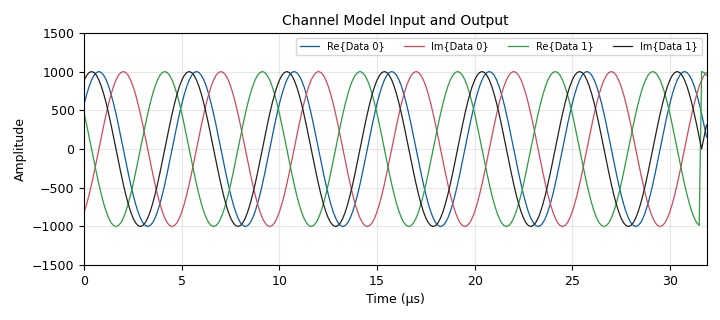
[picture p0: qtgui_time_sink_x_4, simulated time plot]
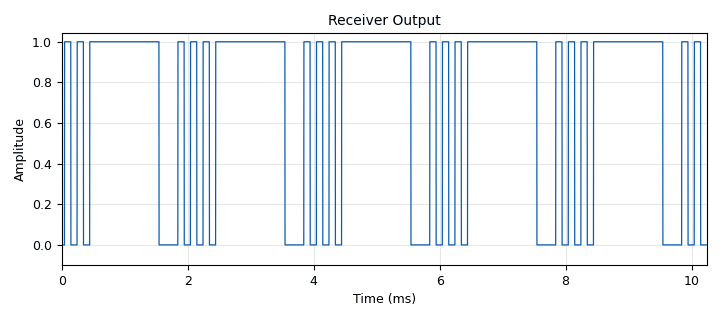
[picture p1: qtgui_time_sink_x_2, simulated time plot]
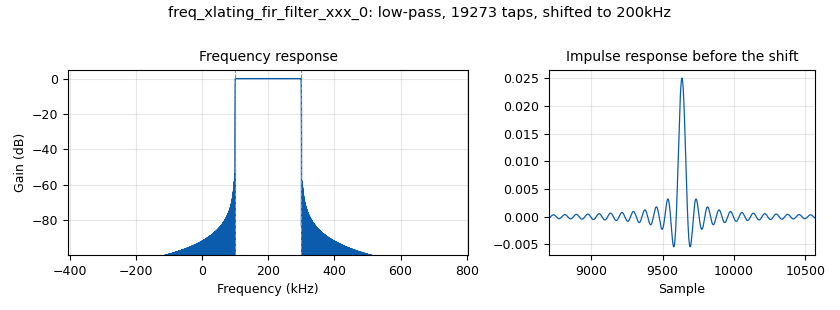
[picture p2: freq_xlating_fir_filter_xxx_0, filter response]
<?xml version='1.0' encoding='utf-8'?>
<?grc format='1' created='3.7.7'?>
<flow_graph>
<block>
<key>options</key>
<param><key>id</key><value>top_block</value></param>
<param><key>generate_options</key><value>qt_gui</value></param>
<param><key>category</key><value>Custom</value></param>
</block>
<block>
<key>variable</key>
<param><key>id</key><value>filter_transition</value></param>
<param><key>value</key><value>1e3</value></param>
</block>
<block>
<key>variable</key>
<param><key>id</key><value>filter_cutoff</value></param>
<param><key>value</key><value>100e3</value></param>
</block>
<block>
<key>variable</key>
<param><key>id</key><value>gain</value></param>
<param><key>value</key><value>1e3</value></param>
</block>
<block>
<key>variable</key>
<param><key>id</key><value>center_freq</value></param>
<param><key>value</key><value>313e6</value></param>
</block>
<block>
<key>variable</key>
<param><key>id</key><value>working_samp_rate</value></param>
<param><key>value</key><value>400e3</value></param>
</block>
<block>
<key>variable</key>
<param><key>id</key><value>samp_rate</value></param>
<param><key>value</key><value>8e6</value></param>
</block>
<block>
<key>import</key>
<param><key>id</key><value>import_0</value></param>
<param><key>import</key><value>import math</value></param>
</block>
<block>
<key>variable_qtgui_entry</key>
<param><key>id</key><value>freq</value></param>
<param><key>type</key><value>real</value></param>
<param><key>value</key><value>313.2e6</value></param>
</block>
<block>
<key>variable_qtgui_entry</key>
<param><key>id</key><value>noise</value></param>
<param><key>type</key><value>real</value></param>
<param><key>value</key><value>0</value></param>
</block>
<block>
<key>variable_qtgui_entry</key>
<param><key>id</key><value>freq_offset</value></param>
<param><key>type</key><value>real</value></param>
<param><key>value</key><value>0</value></param>
</block>
<block>
<key>variable_qtgui_entry</key>
<param><key>id</key><value>freq_match</value></param>
<param><key>type</key><value>real</value></param>
<param><key>value</key><value>1</value></param>
</block>
<block>
<key>variable_qtgui_entry</key>
<param><key>id</key><value>threshold</value></param>
<param><key>type</key><value>real</value></param>
<param><key>value</key><value>0</value></param>
</block>
<block>
<key>variable_qtgui_entry</key>
<param><key>id</key><value>sensitivity</value></param>
<param><key>type</key><value>real</value></param>
<param><key>value</key><value>math.pi/2</value></param>
</block>
<block>
<key>blocks_vector_source_x</key>
<param><key>id</key><value>blocks_vector_source_x_0</value></param>
<param><key>type</key><value>float</value></param>
<param><key>vector</key><value>(-1, 1, 1, 1, -1, 1, -1, 1, -1, 1, -1, -1, -1, -1, -1, -1, -1, -1, -1, -1)</value></param>
<param><key>repeat</key><value>True</value></param>
</block>
<block>
<key>blocks_repeat</key>
<param><key>id</key><value>blocks_repeat_0</value></param>
<param><key>type</key><value>float</value></param>
<param><key>interp</key><value>800</value></param>
</block>
<block>
<key>qtgui_time_sink_x</key>
<param><key>id</key><value>qtgui_time_sink_x_0</value></param>
<param><key>_enabled</key><value>False</value></param>
<param><key>type</key><value>float</value></param>
<param><key>name</key><value>"Digital Input"</value></param>
<param><key>size</key><value>16384</value></param>
<param><key>srate</key><value>samp_rate</value></param>
<param><key>ymin</key><value>-0.1</value></param>
<param><key>tr_mode</key><value>qtgui.TRIG_MODE_AUTO</value></param>
<param><key>tr_level</key><value>0.5</value></param>
<param><key>tr_delay</key><value>100e-6</value></param>
<param><key>label1</key><value></value></param>
<param><key>color1</key><value>"blue"</value></param>
</block>
<block>
<key>analog_phase_modulator_fc</key>
<param><key>id</key><value>analog_phase_modulator_fc_0</value></param>
<param><key>sensitivity</key><value>sensitivity</value></param>
</block>
<block>
<key>qtgui_waterfall_sink_x</key>
<param><key>id</key><value>qtgui_waterfall_sink_x_0</value></param>
<param><key>_enabled</key><value>False</value></param>
<param><key>type</key><value>complex</value></param>
<param><key>fftsize</key><value>1024</value></param>
<param><key>wintype</key><value>firdes.WIN_BLACKMAN_hARRIS</value></param>
<param><key>fc</key><value>0</value></param>
<param><key>bw</key><value>samp_rate</value></param>
<param><key>showports</key><value>True</value></param>
</block>
<block>
<key>blocks_multiply_xx</key>
<param><key>id</key><value>blocks_multiply_xx_0</value></param>
<param><key>type</key><value>complex</value></param>
</block>
<block>
<key>analog_sig_source_x</key>
<param><key>id</key><value>analog_sig_source_x_0</value></param>
<param><key>type</key><value>complex</value></param>
<param><key>samp_rate</key><value>samp_rate</value></param>
<param><key>waveform</key><value>analog.GR_COS_WAVE</value></param>
<param><key>freq</key><value>freq-center_freq</value></param>
<param><key>amp</key><value>gain</value></param>
<param><key>offset</key><value>0</value></param>
</block>
<block>
<key>blocks_throttle</key>
<param><key>id</key><value>blocks_throttle_0</value></param>
<param><key>type</key><value>complex</value></param>
<param><key>samples_per_second</key><value>samp_rate</value></param>
</block>
<block>
<key>qtgui_time_sink_x</key>
<param><key>id</key><value>qtgui_time_sink_x_1</value></param>
<param><key>_enabled</key><value>False</value></param>
<param><key>type</key><value>complex</value></param>
<param><key>name</key><value>"PSK Modulated Signal"</value></param>
<param><key>size</key><value>16384</value></param>
<param><key>srate</key><value>samp_rate</value></param>
<param><key>ymin</key><value>-1100</value></param>
<param><key>ymax</key><value>1100</value></param>
<param><key>tr_mode</key><value>qtgui.TRIG_MODE_AUTO</value></param>
<param><key>tr_level</key><value>500</value></param>
<param><key>tr_delay</key><value>0.1e-3</value></param>
<param><key>label1</key><value></value></param>
<param><key>color1</key><value>"blue"</value></param>
<param><key>label2</key><value></value></param>
<param><key>color2</key><value>"red"</value></param>
</block>
<block>
<key>qtgui_time_sink_x</key>
<param><key>id</key><value>qtgui_time_sink_x_3</value></param>
<param><key>_enabled</key><value>False</value></param>
<param><key>type</key><value>float</value></param>
<param><key>name</key><value>"Demodulator Output"</value></param>
<param><key>size</key><value>1024</value></param>
<param><key>srate</key><value>working_samp_rate</value></param>
<param><key>label1</key><value></value></param>
<param><key>color1</key><value>"blue"</value></param>
</block>
<block>
<key>qtgui_waterfall_sink_x</key>
<param><key>id</key><value>qtgui_waterfall_sink_x_0_0</value></param>
<param><key>_enabled</key><value>False</value></param>
<param><key>type</key><value>complex</value></param>
<param><key>name</key><value>"Demodulator Input"</value></param>
<param><key>fftsize</key><value>1024</value></param>
<param><key>wintype</key><value>firdes.WIN_BLACKMAN_hARRIS</value></param>
<param><key>fc</key><value>0</value></param>
<param><key>bw</key><value>working_samp_rate</value></param>
<param><key>showports</key><value>True</value></param>
</block>
<block>
<key>blocks_uchar_to_float</key>
<param><key>id</key><value>blocks_uchar_to_float_0</value></param>
</block>
<block>
<key>digital_binary_slicer_fb</key>
<param><key>id</key><value>digital_binary_slicer_fb_0</value></param>
</block>
<block>
<key>blocks_add_const_vxx</key>
<param><key>id</key><value>blocks_add_const_vxx_0</value></param>
<param><key>type</key><value>float</value></param>
<param><key>const</key><value>-1*threshold</value></param>
</block>
<block>
<key>blocks_complex_to_arg</key>
<param><key>id</key><value>blocks_complex_to_arg_0</value></param>
</block>
<block>
<key>freq_xlating_fir_filter_xxx</key>
<param><key>id</key><value>freq_xlating_fir_filter_xxx_0</value></param>
<param><key>type</key><value>ccc</value></param>
<param><key>decim</key><value>int(samp_rate/working_samp_rate)</value></param>
<param><key>taps</key><value>firdes.low_pass(1, samp_rate, filter_cutoff, filter_transition)</value></param>
<param><key>center_freq</key><value>freq-center_freq</value></param>
<param><key>samp_rate</key><value>samp_rate</value></param>
</block>
<block>
<key>qtgui_time_sink_x</key>
<param><key>id</key><value>qtgui_time_sink_x_4</value></param>
<param><key>type</key><value>complex</value></param>
<param><key>name</key><value>"Channel Model Input and Output"</value></param>
<param><key>size</key><value>256</value></param>
<param><key>srate</key><value>samp_rate</value></param>
<param><key>ymin</key><value>-1500</value></param>
<param><key>ymax</key><value>1500</value></param>
<param><key>nconnections</key><value>2</value></param>
<param><key>label1</key><value></value></param>
<param><key>color1</key><value>"blue"</value></param>
<param><key>label2</key><value></value></param>
<param><key>color2</key><value>"red"</value></param>
<param><key>label3</key><value></value></param>
<param><key>color3</key><value>"green"</value></param>
<param><key>label4</key><value></value></param>
<param><key>color4</key><value>"black"</value></param>
</block>
<block>
<key>channels_channel_model</key>
<param><key>id</key><value>channels_channel_model_0</value></param>
<param><key>noise_voltage</key><value>noise</value></param>
<param><key>freq_offset</key><value>freq_offset</value></param>
<param><key>epsilon</key><value>freq_match</value></param>
<param><key>taps</key><value>1.0j</value></param>
<param><key>seed</key><value>0</value></param>
</block>
<block>
<key>qtgui_time_sink_x</key>
<param><key>id</key><value>qtgui_time_sink_x_2</value></param>
<param><key>type</key><value>float</value></param>
<param><key>name</key><value>"Receiver Output"</value></param>
<param><key>size</key><value>4096</value></param>
<param><key>srate</key><value>working_samp_rate</value></param>
<param><key>ymin</key><value>-0.1</value></param>
<param><key>tr_level</key><value>0.5</value></param>
<param><key>tr_delay</key><value>1e-3</value></param>
<param><key>label1</key><value></value></param>
<param><key>color1</key><value>"blue"</value></param>
</block>
<connection><source_block_id>blocks_vector_source_x_0</source_block_id><sink_block_id>blocks_repeat_0</sink_block_id><source_key>0</source_key><sink_key>0</sink_key></connection>
<connection><source_block_id>analog_sig_source_x_0</source_block_id><sink_block_id>blocks_throttle_0</sink_block_id><source_key>0</source_key><sink_key>0</sink_key></connection>
<connection><source_block_id>blocks_multiply_xx_0</source_block_id><sink_block_id>qtgui_time_sink_x_1</sink_block_id><source_key>0</source_key><sink_key>0</sink_key></connection>
<connection><source_block_id>blocks_throttle_0</source_block_id><sink_block_id>blocks_multiply_xx_0</sink_block_id><source_key>0</source_key><sink_key>1</sink_key></connection>
<connection><source_block_id>blocks_repeat_0</source_block_id><sink_block_id>qtgui_time_sink_x_0</sink_block_id><source_key>0</source_key><sink_key>0</sink_key></connection>
<connection><source_block_id>blocks_repeat_0</source_block_id><sink_block_id>analog_phase_modulator_fc_0</sink_block_id><source_key>0</source_key><sink_key>0</sink_key></connection>
<connection><source_block_id>analog_phase_modulator_fc_0</source_block_id><sink_block_id>blocks_multiply_xx_0</sink_block_id><source_key>0</source_key><sink_key>0</sink_key></connection>
<connection><source_block_id>analog_phase_modulator_fc_0</source_block_id><sink_block_id>qtgui_waterfall_sink_x_0</sink_block_id><source_key>0</source_key><sink_key>0</sink_key></connection>
<connection><source_block_id>blocks_complex_to_arg_0</source_block_id><sink_block_id>qtgui_time_sink_x_3</sink_block_id><source_key>0</source_key><sink_key>0</sink_key></connection>
<connection><source_block_id>blocks_multiply_xx_0</source_block_id><sink_block_id>channels_channel_model_0</sink_block_id><source_key>0</source_key><sink_key>0</sink_key></connection>
<connection><source_block_id>blocks_multiply_xx_0</source_block_id><sink_block_id>qtgui_time_sink_x_4</sink_block_id><source_key>0</source_key><sink_key>0</sink_key></connection>
<connection><source_block_id>channels_channel_model_0</source_block_id><sink_block_id>qtgui_time_sink_x_4</sink_block_id><source_key>0</source_key><sink_key>1</sink_key></connection>
<connection><source_block_id>blocks_add_const_vxx_0</source_block_id><sink_block_id>digital_binary_slicer_fb_0</sink_block_id><source_key>0</source_key><sink_key>0</sink_key></connection>
<connection><source_block_id>digital_binary_slicer_fb_0</source_block_id><sink_block_id>blocks_uchar_to_float_0</sink_block_id><source_key>0</source_key><sink_key>0</sink_key></connection>
<connection><source_block_id>blocks_uchar_to_float_0</source_block_id><sink_block_id>qtgui_time_sink_x_2</sink_block_id><source_key>0</source_key><sink_key>0</sink_key></connection>
<connection><source_block_id>freq_xlating_fir_filter_xxx_0</source_block_id><sink_block_id>qtgui_waterfall_sink_x_0_0</sink_block_id><source_key>0</source_key><sink_key>0</sink_key></connection>
<connection><source_block_id>freq_xlating_fir_filter_xxx_0</source_block_id><sink_block_id>blocks_complex_to_arg_0</sink_block_id><source_key>0</source_key><sink_key>0</sink_key></connection>
<connection><source_block_id>channels_channel_model_0</source_block_id><sink_block_id>freq_xlating_fir_filter_xxx_0</sink_block_id><source_key>0</source_key><sink_key>0</sink_key></connection>
<connection><source_block_id>blocks_complex_to_arg_0</source_block_id><sink_block_id>blocks_add_const_vxx_0</sink_block_id><source_key>0</source_key><sink_key>0</sink_key></connection>
</flow_graph>
